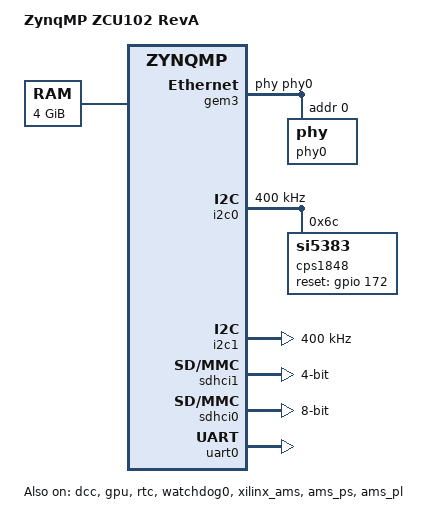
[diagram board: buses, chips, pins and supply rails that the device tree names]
/*
 * dts file for Xilinx ZynqMP ZCU102 RevA
 *
 * (C) Copyright 2015, Xilinx, Inc.
 *
 * Michal Simek <michal.simek@xilinx.com>
 *
 * This program is free software; you can redistribute it and/or
 * modify it under the terms of the GNU General Public License as
 * published by the Free Software Foundation; either version 2 of
 * the License, or (at your option) any later version.
 */

/dts-v1/;

#include "zynqmp.dtsi"
#include "zynqmp-clk-ccf.dtsi"
#include <dt-bindings/gpio/gpio.h>
#include <dt-bindings/pinctrl/pinctrl-zynqmp.h>
#include <dt-bindings/phy/phy.h>

/ {
	model = "ZynqMP ZCU102 RevA";
	compatible = "xlnx,zynqmp-zcu102-revA", "xlnx,zynqmp-zcu102", "xlnx,zynqmp";

	aliases {
		ethernet0 = &gem3;
		gpio0 = &gpio;
		i2c0 = &i2c0;
		i2c1 = &i2c1;
		//mmc0 = &sdhci1;
		//mmc1 = &sdhci0;
		mmc0 = &sdhci1;
		mmc1 = &sdhci0;
		rtc0 = &rtc;
		serial0 = &uart0;
		serial1 = &uart1;
		serial2 = &dcc;
		spi0 = &qspi;
		usb0 = &usb0;
	};

	chosen {
		bootargs = "earlycon";
		stdout-path = "serial0:115200n8";
	};

	memory@0 {
		device_type = "memory";
		reg = <0x0 0x0 0x0 0x80000000>, <0x8 0x00000000 0x0 0x80000000>;
	};

};


&dcc {
	status = "okay";
};

/* fpd_dma clk 667MHz, lpd_dma 500MHz */
&fpd_dma_chan1 {
	status = "okay";
	xlnx,include-sg; /* for testing purpose */
	xlnx,overfetch; /* for testing purpose */
	xlnx,ratectrl = <0>; /* for testing purpose */
	xlnx,src-issue = <31>;
};

&fpd_dma_chan2 {
	status = "okay";
	xlnx,ratectrl = <100>; /* for testing purpose */
	xlnx,src-issue = <4>; /* for testing purpose */
};

&fpd_dma_chan3 {
	status = "okay";
};

&fpd_dma_chan4 {
	status = "okay";
	xlnx,include-sg; /* for testing purpose */
};

&fpd_dma_chan5 {
	status = "okay";
};

&fpd_dma_chan6 {
	status = "okay";
	xlnx,include-sg; /* for testing purpose */
};

&fpd_dma_chan7 {
	status = "okay";
};

&fpd_dma_chan8 {
	status = "okay";
	xlnx,include-sg; /* for testing purpose */
};

&gem3 {
	status = "okay";
	phy-handle = <&phy0>;
	//phy-mode = "rgmii-id";
	//pinctrl-names = "default";
	//pinctrl-0 = <&pinctrl_gem3_default>;
	phy0: phy@0 {
		reg = <0>;
		ti,rx-internal-delay = <0x8>;
		ti,tx-internal-delay = <0xa>;
		ti,fifo-depth = <0x1>;
		ti,rxctrl-strap-worka;
	};
};

&gpio {
	status = "okay";
	//pinctrl-names = "default";
	//pinctrl-0 = <&pinctrl_gpio_default>;
};

&gpu {
	status = "okay";
};

&i2c0 {
	status = "okay";
	clock-frequency = <400000>;

	cps1848@6c {
		compatible = "si5383";
		reg = <0x6c>;
		reset-gpios = <&gpio 172 0>;	// 95+77
/include/ "si5383_regmap.dtsi"
	};


};

&i2c1 {
	status = "okay";
	clock-frequency = <400000>;
	//pinctrl-names = "default", "gpio";
	//pinctrl-0 = <&pinctrl_i2c1_default>;
	//pinctrl-1 = <&pinctrl_i2c1_gpio>;
	//scl-gpios = <&gpio 16 GPIO_ACTIVE_HIGH>;
	//sda-gpios = <&gpio 17 GPIO_ACTIVE_HIGH>;

};

&pinctrl0 {
	status = "okay";
	pinctrl_i2c0_default: i2c0-default {
		mux {
			groups = "i2c0_3_grp";
			function = "i2c0";
		};

		conf {
			groups = "i2c0_3_grp";
			bias-pull-up;
			slew-rate = <SLEW_RATE_SLOW>;
			io-standard = <IO_STANDARD_LVCMOS18>;
		};
	};

	pinctrl_i2c0_gpio: i2c0-gpio {
		mux {
			groups = "gpio0_14_grp", "gpio0_15_grp";
			function = "gpio0";
		};

		conf {
			groups = "gpio0_14_grp", "gpio0_15_grp";
			slew-rate = <SLEW_RATE_SLOW>;
			io-standard = <IO_STANDARD_LVCMOS18>;
		};
	};

	pinctrl_i2c1_default: i2c1-default {
		mux {
			groups = "i2c1_4_grp";
			function = "i2c1";
		};

		conf {
			groups = "i2c1_4_grp";
			bias-pull-up;
			slew-rate = <SLEW_RATE_SLOW>;
			io-standard = <IO_STANDARD_LVCMOS18>;
		};
	};

	pinctrl_i2c1_gpio: i2c1-gpio {
		mux {
			groups = "gpio0_16_grp", "gpio0_17_grp";
			function = "gpio0";
		};

		conf {
			groups = "gpio0_16_grp", "gpio0_17_grp";
			slew-rate = <SLEW_RATE_SLOW>;
			io-standard = <IO_STANDARD_LVCMOS18>;
		};
	};

	pinctrl_usb0_default: usb0-default {
		mux {
			groups = "usb0_0_grp";
			function = "usb0";
		};

		conf {
			groups = "usb0_0_grp";
			slew-rate = <SLEW_RATE_SLOW>;
			io-standard = <IO_STANDARD_LVCMOS18>;
		};

		conf-rx {
			pins = "MIO52", "MIO53", "MIO55";
			bias-high-impedance;
		};

		conf-tx {
			pins = "MIO54", "MIO56", "MIO57", "MIO58", "MIO59",
			       "MIO60", "MIO61", "MIO62", "MIO63";
			bias-disable;
		};
	};

//	pinctrl_gem3_default: gem3-default {
//		mux {
//			function = "ethernet3";
//			groups = "ethernet3_0_grp";
//		};
//
//		conf {
//			groups = "ethernet3_0_grp";
//			slew-rate = <SLEW_RATE_SLOW>;
//			io-standard = <IO_STANDARD_LVCMOS18>;
//		};
//
//		conf-rx {
//			pins = "MIO70", "MIO71", "MIO72", "MIO73", "MIO74",
//									"MIO75";
//			bias-high-impedance;
//			low-power-disable;
//		};
//
//		conf-tx {
//			pins = "MIO64", "MIO65", "MIO66", "MIO67", "MIO68",
//									"MIO69";
//			bias-disable;
//			low-power-enable;
//		};
//
//		mux-mdio {
//			function = "mdio3";
//			groups = "mdio3_0_grp";
//		};
//
//		conf-mdio {
//			groups = "mdio3_0_grp";
//			slew-rate = <SLEW_RATE_SLOW>;
//			io-standard = <IO_STANDARD_LVCMOS18>;
//			bias-disable;
//		};
//	};

	pinctrl_sdhci0_default: sdhci0-default {
		mux {
			groups = "sdio0_0_grp";
			function = "sdio0";
		};

		conf {
			groups = "sdio0_0_grp";
			slew-rate = <SLEW_RATE_SLOW>;
			io-standard = <IO_STANDARD_LVCMOS18>;
			bias-disable;
		};

		mux-cd {
			groups = "sdio0_cd_0_grp";
			function = "sdio0_cd";
		};

		conf-cd {
			groups = "sdio0_cd_0_grp";
			bias-high-impedance;
			bias-pull-up;
			slew-rate = <SLEW_RATE_SLOW>;
			io-standard = <IO_STANDARD_LVCMOS18>;
		};

		mux-wp {
			groups = "sdio0_wp_0_grp";
			function = "sdio0_wp";
		};

		conf-wp {
			groups = "sdio0_wp_0_grp";
			bias-high-impedance;
			bias-pull-up;
			slew-rate = <SLEW_RATE_SLOW>;
			io-standard = <IO_STANDARD_LVCMOS18>;
		};
	};

	pinctrl_sdhci1_default: sdhci1-default {
		mux {
			groups = "sdio1_0_grp";
			function = "sdio1";
		};

		conf {
			groups = "sdio1_0_grp";
			slew-rate = <SLEW_RATE_SLOW>;
			io-standard = <IO_STANDARD_LVCMOS18>;
			bias-disable;
			drive-strength = <12>;
		};

		mux-cd {
			groups = "sdio1_cd_0_grp";
			function = "sdio1_cd";
		};

		conf-cd {
			groups = "sdio1_cd_0_grp";
			bias-high-impedance;
			bias-pull-up;
			slew-rate = <SLEW_RATE_SLOW>;
			io-standard = <IO_STANDARD_LVCMOS18>;
		};
	};

//	pinctrl_gpio_default: gpio-default {
//		mux-sw {
//			function = "gpio0";
//			groups = "gpio0_22_grp", "gpio0_23_grp";
//		};
//
//		conf-sw {
//			groups = "gpio0_22_grp", "gpio0_23_grp";
//			slew-rate = <SLEW_RATE_SLOW>;
//			io-standard = <IO_STANDARD_LVCMOS18>;
//		};
//
//		mux-msp {
//			function = "gpio0";
//			groups = "gpio0_13_grp", "gpio0_38_grp";
//		};
//
//		conf-msp {
//			groups = "gpio0_13_grp", "gpio0_38_grp";
//			slew-rate = <SLEW_RATE_SLOW>;
//			io-standard = <IO_STANDARD_LVCMOS18>;
//		};
//
//		conf-pull-up {
//			pins = "MIO22", "MIO23";
//			bias-pull-up;
//		};
//
//		conf-pull-none {
//			pins = "MIO13", "MIO38";
//			bias-disable;
//		};
//	};
};

//&qspi {
//	status = "okay";
//	is-dual = <1>;
//	flash@0 {
//		compatible = "m25p80"; /* 32MB */
//		#address-cells = <1>;
//		#size-cells = <1>;
//		reg = <0x0>;
//		spi-tx-bus-width = <1>;
//		spi-rx-bus-width = <4>; /* FIXME also DUAL configuration possible */
//		spi-max-frequency = <108000000>; /* Based on DC1 spec */
//		partition@qspi-fsbl-uboot { /* for testing purpose */
//			label = "qspi-fsbl-uboot";
//			reg = <0x0 0x100000>;
//		};
//		partition@qspi-linux { /* for testing purpose */
//			label = "qspi-linux";
//			reg = <0x100000 0x500000>;
//		};
//		partition@qspi-device-tree { /* for testing purpose */
//			label = "qspi-device-tree";
//			reg = <0x600000 0x20000>;
//		};
//		partition@qspi-rootfs { /* for testing purpose */
//			label = "qspi-rootfs";
//			reg = <0x620000 0x5E0000>;
//		};
//	};
//};

&rtc {
	status = "okay";
};

//&sdhci0 {
//	status = "okay";
//	//xlnx,mio_bank = <0>;
//	xlnx,mio_bank = <0>;
//};
//
///* SD1 with level shifter */
//&sdhci1 {
//	status = "okay";
//	no-1-8-v;
//	xlnx,mio_bank = <1>;
//};


&sdhci1 {
	status = "okay";
	no-1-8-v;
	bus-width = <4>;
	xlnx,mio_bank = <1>;
	//pinctrl-names = "default";   // 忘了写这个 default
	//pinctrl-0 = <&pinctrl_sdhci1_default>;
};

&sdhci0 {
	//status = "okay";
	//no-1-8-v;
	////bus-width = <8>;
	////mmc-hs200-1_8v;
	//xlnx,mio_bank = <0>;



	status = "okay";
	bus-width = <8>;
	clock-frequency = <20000000>;
	xlnx,mio_bank = <0>;
	no-sd;
	no-sdio;
	disable-wp;

	//pinctrl-names = "default";   // 忘了写这个 default
	//pinctrl-0 = <&pinctrl_sdhci0_default>;
};


&uart0 {
	status = "okay";
	port-number = <0>;
};

//&uart1 {
//	status = "okay";
//	pinctrl-names = "default";
//	pinctrl-0 = <&pinctrl_uart1_default>;
//};

&watchdog0 {
	status = "okay";
};

&xilinx_ams {
	status = "okay";
};

&ams_ps {
	status = "okay";
};

&ams_pl {
	status = "okay";
};
